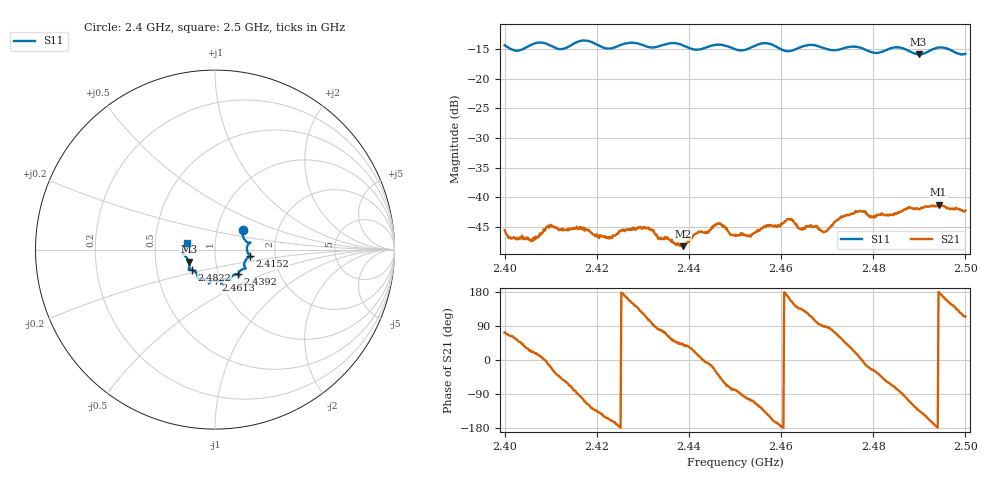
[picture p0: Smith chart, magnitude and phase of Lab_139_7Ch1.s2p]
# Hz S RI R 50
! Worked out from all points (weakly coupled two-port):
!   601 points, 2.4 GHz to 2.5 GHz, reference 50 ohm
!   highest |S21| = -41.22 dB at 2.4942 GHz (marker M1); lowest = -48.2 dB at 2.4387 GHz (marker M2)
!   lowest |S11| = -15.9 dB at 2.4898 GHz (marker M3), VSWR 1.38, Z = 37 - j5.03 ohm
!   |S11| at or under -10 dB: start of sweep to end of sweep
!   S12 and S22 are empty: the file has one direction only
!   S11 on the Smith chart (normalised r, x): 2.4 GHz: 1.33, +0.31; 2.4152 GHz: 1.48, -0.11; 2.4392 GHz: 1.23, -0.35; 2.4613 GHz: 0.96, -0.34; 2.4822 GHz: 0.76, -0.17; 2.5 GHz: 0.73, +0.05
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2.4e9  0.1556 0.1107  0.00157 0.00505  0 0  0 0
2.406e9  0.1913 0.037  0.00398 0.00161  0 0  0 0
2.409667e9  0.1893 0.035  0.00543 -0.00127  0 0  0 0
2.415167e9  0.1952 -0.0362  0.000906 -0.00536  0 0  0 0
2.416667e9  0.2047 -0.0422  -0.000831 -0.00554  0 0  0 0
2.4225e9  0.1665 -0.0667  -0.00409 -0.0019  0 0  0 0
2.430667e9  0.1511 -0.1112  -0.00227 0.00509  0 0  0 0
2.433333e9  0.1321 -0.132  0.000747 0.00442  0 0  0 0
2.438667e9  0.1302 -0.1397  0.00285 0.00264  0 0  0 0
2.439167e9  0.1268 -0.1379  0.00314 0.00255  0 0  0 0
2.446333e9  0.0857 -0.1738  0.00471 -0.00369  0 0  0 0
2.45e9  0.0687 -0.1637  0.000941 -0.00466  0 0  0 0
2.456667e9  0.0391 -0.1953  -0.00425 -0.00368  0 0  0 0
2.461333e9  0.00705 -0.1704  -0.00645 0.00121  0 0  0 0
2.466667e9  -0.0333 -0.1897  -0.00223 0.00521  0 0  0 0
2.469667e9  -0.0399 -0.1747  0.000137 0.00517  0 0  0 0
2.476667e9  -0.095 -0.1585  0.00734 0.00167  0 0  0 0
2.482167e9  -0.1282 -0.1118  0.00468 -0.00545  0 0  0 0
2.483333e9  -0.1395 -0.1102  0.00353 -0.00608  0 0  0 0
2.489833e9  -0.1457 -0.0663  -0.00534 -0.00592  0 0  0 0
2.494167e9  -0.1815 -0.0227  -0.00869 3.44e-05  0 0  0 0
2.5e9  -0.158 0.034  -0.00323 0.00705  0 0  0 0
